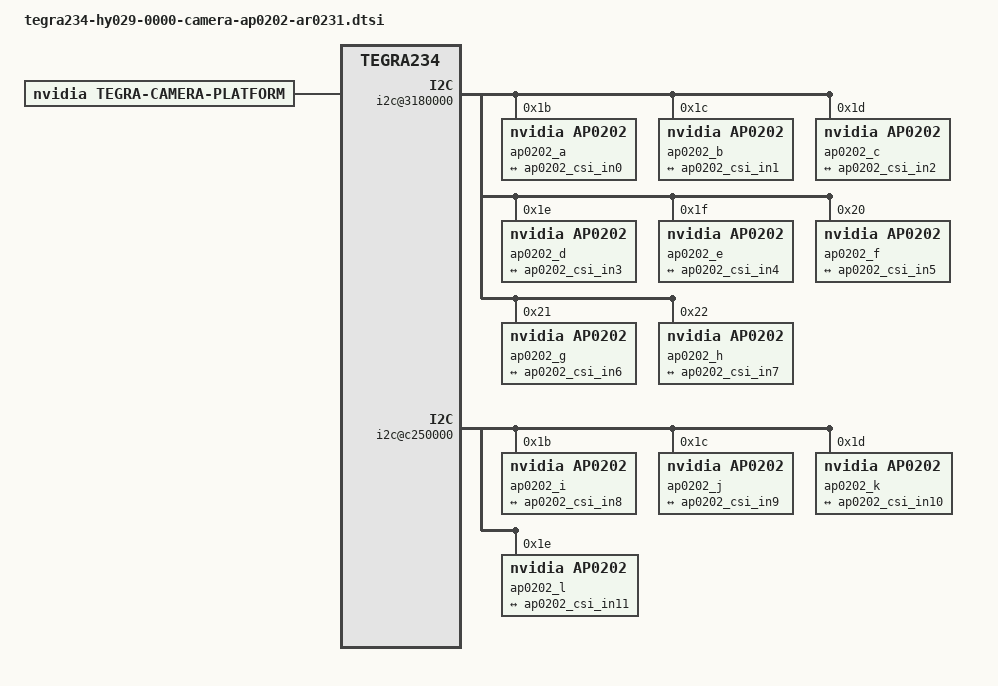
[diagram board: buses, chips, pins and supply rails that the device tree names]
/*
 * Copyright (c) 2018, NVIDIA CORPORATION.  All rights reserved.
 *
 * This program is free software; you can redistribute it and/or modify
 * it under the terms of the GNU General Public License as published by
 * the Free Software Foundation; either version 2 of the License, or
 * (at your option) any later version.
 *
 * This program is distributed in the hope that it will be useful, but WITHOUT
 * ANY WARRANTY; without even the implied warranty of MERCHANTABILITY or
 * FITNESS FOR A PARTICULAR PURPOSE.  See the GNU General Public License for
 * more details.
 *
 * You should have received a copy of the GNU General Public License
 * along with this program.  If not, see <http://www.gnu.org/licenses/>.
 */



/ {
		tegra-capture-vi {
			num-channels = <12>;
			/*num-channels = <8>;*/
			/*num-channels = <4>;*/
			ports {
				#address-cells = <1>;
				#size-cells = <0>;
            #if 1
				port@0 {
					reg = <0>;
					ap0202_vi_in0: endpoint {
						devnode = "video1";
						vc-id = <0>;
						/*
						 * Port index is used to specify the connection between two different modules. 
						 * For the VI (video input) module, the port index represents the input stream. 
						 * For the CSI module, it represents the actual CSI port to which the camera is connected.
						 * see diagram for details.
						*/
						port-index = <0>;
						/* Number of CSI lanes connected to sensor; determines the bus width. */
						bus-width = <4>;
						remote-endpoint = <&ap0202_csi_out0>;
					};
				};
				port@1 {
					reg = <1>;
					ap0202_vi_in1: endpoint {
						devnode = "video0";
						vc-id = <1>;
						port-index = <0>;
						bus-width = <4>;
						remote-endpoint = <&ap0202_csi_out1>;
					};
				};
				port@2 {
					reg = <2>;
					ap0202_vi_in2: endpoint {
						devnode = "video3";
						vc-id = <2>;
						port-index = <0>;
						bus-width = <4>;
						remote-endpoint = <&ap0202_csi_out2>;
					};
				};
				port@3 {
					reg = <3>;
					ap0202_vi_in3: endpoint {
						devnode = "video2";
						vc-id = <3>;
						port-index = <0>;
						bus-width = <4>;
						remote-endpoint = <&ap0202_csi_out3>;
					};
				};
            #endif
            #if 1
				port@4 {
					reg = <4>;
					ap0202_vi_in4: endpoint {
						devnode = "video9";
						vc-id = <0>;
						port-index = <2>;
						bus-width = <4>;
						remote-endpoint = <&ap0202_csi_out4>;
					};
				};
				port@5 {
					reg = <5>;
					ap0202_vi_in5: endpoint {
						devnode = "video8";
						vc-id = <1>;
						port-index = <2>;
						bus-width = <4>;
						remote-endpoint = <&ap0202_csi_out5>;
					};
				};	
				port@6 {
					reg = <6>;
					ap0202_vi_in6: endpoint {
						devnode = "video11";
						vc-id = <2>;
						port-index = <2>;
						bus-width = <4>;
						remote-endpoint = <&ap0202_csi_out6>;
					};
				};
				port@7 {
					reg = <7>;
					ap0202_vi_in7: endpoint {
						devnode = "video10";
						vc-id = <3>;
						port-index = <2>;
						bus-width = <4>;
						remote-endpoint = <&ap0202_csi_out7>;
					};
				};
            #endif

            #if 1
				port@8 {
					reg = <8>;
					ap0202_vi_in8: endpoint {
						devnode = "video5";
						vc-id = <0>;
						port-index = <4>;
						bus-width = <4>;
						remote-endpoint = <&ap0202_csi_out8>;
					};
				};
				port@9 {
					reg = <9>;
					ap0202_vi_in9: endpoint {
						devnode = "video4";
						vc-id = <1>;
						port-index = <4>;
						bus-width = <4>;
						remote-endpoint = <&ap0202_csi_out9>;
					};
				};	
				port@a {
					reg = <0xa>;
					ap0202_vi_in10: endpoint {
						devnode = "video7";
						vc-id = <2>;
						port-index = <4>;
						bus-width = <4>;
						remote-endpoint = <&ap0202_csi_out10>;
					};
				};
				port@b {
					reg = <0xb>;
					ap0202_vi_in11: endpoint {
						devnode = "video6";
						vc-id = <3>;
						port-index = <4>;
						bus-width = <4>;
						remote-endpoint = <&ap0202_csi_out11>;
					};
				};
            #endif
			};
		};

	host1x@13e00000 {
		nvcsi@15a00000 {
			num-channels = <12>;
			/*num-channels = <8>;*/
			/*num-channels = <4>;*/
			#address-cells = <1>;
			#size-cells = <0>;
        #if 1
			channel@0 {
				reg = <0>;
				ports {
					#address-cells = <1>;
					#size-cells = <0>;
					port@0 {
						reg = <0>;
						ap0202_csi_in0: endpoint@0 {
						/*
						 * Port index is used to specify the connection between two different modules. 
						 * For the VI (video input) module, the port index represents the input stream. 
						 * For the CSI module, it represents the actual CSI port to which the camera is connected.
						 * see diagram for details.
						*/
							port-index = <0>;
							bus-width = <4>;
							remote-endpoint = <&ap0202_ap0202_out0>;
						};
					};

					port@1 {
						reg = <1>;
						ap0202_csi_out0: endpoint@1 {
							remote-endpoint = <&ap0202_vi_in0>;
						};
					};

				};
			};
			channel@1 {
				reg = <1>;
				ports {
					#address-cells = <1>;
					#size-cells = <0>;
					port@0 {
						reg = <0>;
						ap0202_csi_in1: endpoint@2 {
							port-index = <0>;
							bus-width = <4>;
							remote-endpoint = <&ap0202_ap0202_out1>;
						};
					};
					port@1 {
						reg = <1>;
						ap0202_csi_out1: endpoint@3 {
							remote-endpoint = <&ap0202_vi_in1>;
						};
					};
				};
			};
			channel@2 {
				reg = <2>;
				ports {
					#address-cells = <1>;
					#size-cells = <0>;
					port@0 {
						reg = <0>;
						ap0202_csi_in2: endpoint@4 {
							port-index = <0>;
							bus-width = <4>;
							remote-endpoint = <&ap0202_ap0202_out2>;
						};
					};
					port@1 {
						reg = <1>;
						ap0202_csi_out2: endpoint@5 {
							remote-endpoint = <&ap0202_vi_in2>;
						};
					};
				};
			};
			channel@3 {
				reg = <3>;
				ports {
					#address-cells = <1>;
					#size-cells = <0>;
					port@0 {
						reg = <0>;
						ap0202_csi_in3: endpoint@6 {
							port-index = <0>;
							bus-width = <4>;
							remote-endpoint = <&ap0202_ap0202_out3>;
						};
					};
					port@1 {
						reg = <1>;
						ap0202_csi_out3: endpoint@7 {
							remote-endpoint = <&ap0202_vi_in3>;
						};
					};
				};
			};
        #endif
        #if 1
			channel@4 {
				reg = <4>;
				ports {
					#address-cells = <1>;
					#size-cells = <0>;
					port@0 {
						reg = <0>;
						ap0202_csi_in4: endpoint@8 {
							/*port-index = <6>;*/
							port-index = <2>;
							bus-width = <4>;
							remote-endpoint = <&ap0202_ap0202_out4>;
						};
					};

					port@1 {
						reg = <1>;
						ap0202_csi_out4: endpoint@9 {
							remote-endpoint = <&ap0202_vi_in4>;
						};
					};

				};
			};
			channel@5 {
				reg = <5>;
				ports {
					#address-cells = <1>;
					#size-cells = <0>;
					port@0 {
						reg = <0>;
						ap0202_csi_in5: endpoint@10 {
							port-index = <2>;
							bus-width = <4>;
							remote-endpoint = <&ap0202_ap0202_out5>;
						};
					};
					port@1 {
						reg = <1>;
						ap0202_csi_out5: endpoint@11 {
							remote-endpoint = <&ap0202_vi_in5>;
						};
					};
				};
			};
			channel@6 {
				reg = <6>;
				ports {
					#address-cells = <1>;
					#size-cells = <0>;
					port@0 {
						reg = <0>;
						ap0202_csi_in6: endpoint@12 {
							port-index = <2>;
							bus-width = <4>;
							remote-endpoint = <&ap0202_ap0202_out6>;
						};
					};
					port@1 {
						reg = <1>;
						ap0202_csi_out6: endpoint@13 {
							remote-endpoint = <&ap0202_vi_in6>;
						};
					};
				};
			};
			channel@7 {
				reg = <7>;
				ports {
					#address-cells = <1>;
					#size-cells = <0>;
					port@0 {
						reg = <0>;
						ap0202_csi_in7: endpoint@14 {
							port-index = <2>;
							bus-width = <4>;
							remote-endpoint = <&ap0202_ap0202_out7>;
						};
					};
					port@1 {
						reg = <1>;
						ap0202_csi_out7: endpoint@15 {
							remote-endpoint = <&ap0202_vi_in7>;
						};
					};
				};
			};
        #endif
        #if 1
			channel@8 {
				reg = <8>;
				ports {
					#address-cells = <1>;
					#size-cells = <0>;
					port@0 {
						reg = <0>;
						ap0202_csi_in8: endpoint@16 {
							port-index = <4>;
							bus-width = <4>;
							remote-endpoint = <&ap0202_ap0202_out8>;
						};
					};

					port@1 {
						reg = <1>;
						ap0202_csi_out8: endpoint@17 {
							remote-endpoint = <&ap0202_vi_in8>;
						};
					};

				};
			};
			channel@9 {
				reg = <9>;
				ports {
					#address-cells = <1>;
					#size-cells = <0>;
					port@0 {
						reg = <0>;
						ap0202_csi_in9: endpoint@18 {
							port-index = <4>;
							bus-width = <4>;
							remote-endpoint = <&ap0202_ap0202_out9>;
						};
					};
					port@1 {
						reg = <1>;
						ap0202_csi_out9: endpoint@19 {
							remote-endpoint = <&ap0202_vi_in9>;
						};
					};
				};
			};
			channel@a {
				reg = <0xa>;
				ports {
					#address-cells = <1>;
					#size-cells = <0>;
					port@0 {
						reg = <0>;
						ap0202_csi_in10: endpoint@20 {
							port-index = <4>;
							bus-width = <4>;
							remote-endpoint = <&ap0202_ap0202_out10>;
						};
					};
					port@1 {
						reg = <1>;
						ap0202_csi_out10: endpoint@21 {
							remote-endpoint = <&ap0202_vi_in10>;
						};
					};
				};
			};
			channel@b {
				reg = <0xb>;
				ports {
					#address-cells = <1>;
					#size-cells = <0>;
					port@0 {
						reg = <0>;
						ap0202_csi_in11: endpoint@22 {
							port-index = <4>;
							bus-width = <4>;
							remote-endpoint = <&ap0202_ap0202_out11>;
						};
					};
					port@1 {
						reg = <1>;
						ap0202_csi_out11: endpoint@23 {
							remote-endpoint = <&ap0202_vi_in11>;
						};
					};
				};
			};
        #endif
		};

	};

	i2c@3180000 {

			ap0202_a@1b {
				compatible = "nvidia,ap0202";
				reg = <0x1b>;
				physical_w = "15.0";
				physical_h = "12.5";
				//def-mode = <0>;
				sensor_model ="ar0231-SG";
				post_crop_frame_drop = "0";
				use_decibel_gain = "true";
				delayed_gain = "true";
				//use_sensor_mode_id = "true";
				mode0 {
					mclk_khz = "24000";
					num_lanes = "4";
					/* enable dphy */
					phy_mode = "DPHY";
					tegra_sinterface = "serial_a";
					vc_id = "0";
					discontinuous_clk = "no";
					dpcm_enable = "false";
					cil_settletime = "0";
					mode_type = "yuv";
					pixel_phase = "yuyv";
					csi_pixel_bit_depth = "16";
					active_w = "1920";
					active_h = "1080";
					//pixel_t = "yuv_yuyv16";
					readout_orientation = "0";
					line_length = "4400";
					inherent_gain = "1";
					pix_clk_hz = "148500000";
					serdes_pix_clk_hz = "300000000";
					min_framerate = "30";
					max_framerate = "30";
				};
				ports {
					#address-cells = <1>;
					#size-cells = <0>;
					port@0 {
						reg = <0>;
						ap0202_ap0202_out0: endpoint {
							vc-id = <0>;
							port-index = <0>;
							bus-width = <4>;
							remote-endpoint = <&ap0202_csi_in0>;
							};
						};
					};
				gmsl-link {
					src-csi-port = "b";
					dst-csi-port = "b";
					serdes-csi-link = "a";
					csi-mode = "1x4";
					st-vc = <0>;
					vc-id = <0>;
					num-lanes = <4>;
					streams = "yuv422-8";
					};
				};
			ap0202_b@1c {
				compatible = "nvidia,ap0202";
				reg = <0x1c>;
				physical_w = "15.0";
				physical_h = "12.5";
				//def-mode = <0>;
				sensor_model ="ar0231-SG";
				post_crop_frame_drop = "0";
				use_decibel_gain = "true";
				delayed_gain = "true";
				//use_sensor_mode_id = "true";
				mode0 {
					mclk_khz = "24000";
					num_lanes = "4";
					phy_mode = "DPHY";
					tegra_sinterface = "serial_a";
					vc_id = "1";
					discontinuous_clk = "no";
					dpcm_enable = "false";
					cil_settletime = "0";
					mode_type = "yuv";
					pixel_phase = "yuyv";
					csi_pixel_bit_depth = "16";
					active_w = "1920";
					active_h = "1080";
					//pixel_t = "yuv_yuyv16";
					readout_orientation = "0";
					line_length = "4400";
					inherent_gain = "1";
					pix_clk_hz = "148500000";
					serdes_pix_clk_hz = "300000000";
					min_framerate = "30";
					max_framerate = "30";
				};
				ports {
					#address-cells = <1>;
					#size-cells = <0>;
					port@0 {
						reg = <0>;
						ap0202_ap0202_out1: endpoint {
							vc-id = <1>;
							port-index = <0>;
							bus-width = <4>;
							remote-endpoint = <&ap0202_csi_in1>;
							};
						};
					};
				gmsl-link {
					src-csi-port = "b";
					dst-csi-port = "b";
					serdes-csi-link = "b";
					csi-mode = "1x4";
					st-vc = <0>;
					vc-id = <1>;
					num-lanes = <4>;
					streams = "yuv422-8";
					};
				};

			ap0202_c@1d {
				compatible = "nvidia,ap0202";
				reg = <0x1d>;
				physical_w = "15.0";
				physical_h = "12.5";
				//def-mode = <0>;
				sensor_model ="ar0231-SG";
				post_crop_frame_drop = "0";
				use_decibel_gain = "true";
				delayed_gain = "true";
				//use_sensor_mode_id = "true";
				mode0 {
					mclk_khz = "24000";
					num_lanes = "4";
					phy_mode = "DPHY";
					tegra_sinterface = "serial_a";
					vc_id = "2";
					discontinuous_clk = "no";
					dpcm_enable = "false";
					cil_settletime = "0";
					mode_type = "yuv";
					pixel_phase = "yuyv";
					csi_pixel_bit_depth = "16";
					active_w = "1920";
					active_h = "1080";
					//pixel_t = "yuv_yuyv16";
					readout_orientation = "0";
					line_length = "4400";
					inherent_gain = "1";
					pix_clk_hz = "148500000";
					serdes_pix_clk_hz = "300000000";
					min_framerate = "30";
					max_framerate = "30";
				};
				ports {
					#address-cells = <1>;
					#size-cells = <0>;
					port@0 {
						reg = <0>;
						ap0202_ap0202_out2: endpoint {
							vc-id = <2>;
							port-index = <0>;
							bus-width = <4>;
							remote-endpoint = <&ap0202_csi_in2>;
							};
						};
					};
				gmsl-link {
					src-csi-port = "b";
					dst-csi-port = "b";
					serdes-csi-link = "c";
					csi-mode = "1x4";
					st-vc = <0>;
					vc-id = <2>;
					num-lanes = <4>;
					streams = "yuv422-8";
					};
				};

			ap0202_d@1e{
				compatible = "nvidia,ap0202";
				reg = <0x1e>;
				physical_w = "15.0";
				physical_h = "12.5";
				//def-mode = <0>;
				sensor_model ="ar0231-SG";
				post_crop_frame_drop = "0";
				use_decibel_gain = "true";
				delayed_gain = "true";
				//use_sensor_mode_id = "true";
				mode0 {
					mclk_khz = "24000";
					num_lanes = "4";
					phy_mode = "DPHY";
					tegra_sinterface = "serial_a";
					vc_id = "3";
					discontinuous_clk = "no";
					dpcm_enable = "false";
					cil_settletime = "0";
					mode_type = "yuv";
					pixel_phase = "yuyv";
					csi_pixel_bit_depth = "16";
					active_w = "1920";
					active_h = "1080";
					//pixel_t = "yuv_yuyv16";
					readout_orientation = "0";
					line_length = "4400";
					inherent_gain = "1";
					pix_clk_hz = "148500000";
					serdes_pix_clk_hz = "300000000";
					min_framerate = "30";
					max_framerate = "30";
				};
				ports {
					#address-cells = <1>;
					#size-cells = <0>;
					port@0 {
						reg = <0>;
						ap0202_ap0202_out3: endpoint {
							vc-id = <3>;
							port-index = <0>;
							bus-width = <4>;
							remote-endpoint = <&ap0202_csi_in3>;
							};
						};
					};
				gmsl-link {
					src-csi-port = "b";
					dst-csi-port = "b";
					serdes-csi-link = "d";
					csi-mode = "1x4";
					st-vc = <0>;
					vc-id = <3>;
					num-lanes = <4>;
					streams = "yuv422-8";
					};
				};
	};
    #if 1
	i2c@3180000 {
			ap0202_e@1f {
				compatible = "nvidia,ap0202";
				reg = <0x1f>;
				physical_w = "15.0";
				physical_h = "12.5";
				//def-mode = <0>;
				sensor_model ="ar0231-SG";
				post_crop_frame_drop = "0";
				use_decibel_gain = "true";
				delayed_gain = "true";
				//use_sensor_mode_id = "true";
				mode0 {
					mclk_khz = "24000";
					num_lanes = "4";
					phy_mode = "DPHY";
					/*tegra_sinterface = "serial_g";*/
					tegra_sinterface = "serial_c";
					vc_id = "0";
					discontinuous_clk = "no";
					dpcm_enable = "false";
					cil_settletime = "0";
					mode_type = "yuv";
					pixel_phase = "yuyv";
					csi_pixel_bit_depth = "16";
					active_w = "1920";
					active_h = "1080";
					//pixel_t = "yuv_yuyv16";
					readout_orientation = "0";
					line_length = "4400";
					inherent_gain = "1";
					pix_clk_hz = "148500000";
					serdes_pix_clk_hz = "300000000";
					min_framerate = "30";
					max_framerate = "30";
				};
				ports {
					#address-cells = <1>;
					#size-cells = <0>;
					port@0 {
						reg = <0>;
						ap0202_ap0202_out4: endpoint {
							vc-id = <0>;
							port-index = <2>;
							bus-width = <4>;
							remote-endpoint = <&ap0202_csi_in4>;
							};
						};
					};
				gmsl-link {
					src-csi-port = "b";
					dst-csi-port = "b";
					serdes-csi-link = "a";
					csi-mode = "1x4";
					st-vc = <0>;
					vc-id = <0>;
					num-lanes = <4>;
					streams = "yuv422-8";
					};
				};
			ap0202_f@20 {
				compatible = "nvidia,ap0202";
				reg = <0x20>;
				physical_w = "15.0";
				physical_h = "12.5";
				//def-mode = <0>;
				sensor_model ="ar0231-SG";
				post_crop_frame_drop = "0";
				use_decibel_gain = "true";
				delayed_gain = "true";
				//use_sensor_mode_id = "true";
				mode0 {
					mclk_khz = "24000";
					num_lanes = "4";
					phy_mode = "DPHY";
					tegra_sinterface = "serial_c";
					vc_id = "1";
					discontinuous_clk = "no";
					dpcm_enable = "false";
					cil_settletime = "0";
					mode_type = "yuv";
					pixel_phase = "yuyv";
					csi_pixel_bit_depth = "16";
					active_w = "1920";
					active_h = "1080";
					//pixel_t = "yuv_yuyv16";
					readout_orientation = "0";
					line_length = "4400";
					inherent_gain = "1";
					pix_clk_hz = "148500000";
					serdes_pix_clk_hz = "300000000";
					min_framerate = "30";
					max_framerate = "30";
				};
				ports {
					#address-cells = <1>;
					#size-cells = <0>;
					port@0 {
						reg = <0>;
						ap0202_ap0202_out5: endpoint {
							vc-id = <1>;
							port-index = <2>;
							bus-width = <4>;
							remote-endpoint = <&ap0202_csi_in5>;
							};
						};
					};
				gmsl-link {
					src-csi-port = "b";
					dst-csi-port = "b";
					serdes-csi-link = "b";
					csi-mode = "1x4";
					st-vc = <0>;
					vc-id = <1>;
					num-lanes = <4>;
					streams = "yuv422-8";
					};
				};

			ap0202_g@21 {
				compatible = "nvidia,ap0202";
				reg = <0x21>;
				physical_w = "15.0";
				physical_h = "12.5";
				//def-mode = <0>;
				sensor_model ="ar0231-SG";
				post_crop_frame_drop = "0";
				use_decibel_gain = "true";
				delayed_gain = "true";
				//use_sensor_mode_id = "true";
				mode0 {
					mclk_khz = "24000";
					num_lanes = "4";
					phy_mode = "DPHY";
					tegra_sinterface = "serial_c";
					vc_id = "2";
					discontinuous_clk = "no";
					dpcm_enable = "false";
					cil_settletime = "0";
					mode_type = "yuv";
					pixel_phase = "yuyv";
					csi_pixel_bit_depth = "16";
					active_w = "1920";
					active_h = "1080";
					//pixel_t = "yuv_yuyv16";
					readout_orientation = "0";
					line_length = "4400";
					inherent_gain = "1";
					pix_clk_hz = "148500000";
					serdes_pix_clk_hz = "300000000";
					min_framerate = "30";
					max_framerate = "30";
				};
				ports {
					#address-cells = <1>;
					#size-cells = <0>;
					port@0 {
						reg = <0>;
						ap0202_ap0202_out6: endpoint {
							vc-id = <2>;
							port-index = <2>;
							bus-width = <4>;
							remote-endpoint = <&ap0202_csi_in6>;
							};
						};
					};
				gmsl-link {
					src-csi-port = "b";
					dst-csi-port = "b";
					serdes-csi-link = "c";
					csi-mode = "1x4";
					st-vc = <0>;
					vc-id = <2>;
					num-lanes = <4>;
					streams = "yuv422-8";
					};
				};

			ap0202_h@22{
				compatible = "nvidia,ap0202";
				reg = <0x22>;
				physical_w = "15.0";
				physical_h = "12.5";
				//def-mode = <0>;
				sensor_model ="ar0231-SG";
				post_crop_frame_drop = "0";
				use_decibel_gain = "true";
				delayed_gain = "true";
				//use_sensor_mode_id = "true";
				mode0 {
					mclk_khz = "24000";
					num_lanes = "4";
					phy_mode = "DPHY";
					tegra_sinterface = "serial_c";
					vc_id = "3";
					discontinuous_clk = "no";
					dpcm_enable = "false";
					cil_settletime = "0";
					mode_type = "yuv";
					pixel_phase = "yuyv";
					csi_pixel_bit_depth = "16";
					active_w = "1920";
					active_h = "1080";
					//pixel_t = "yuv_yuyv16";
					readout_orientation = "0";
					line_length = "4400";
					inherent_gain = "1";
					pix_clk_hz = "148500000";
					serdes_pix_clk_hz = "300000000";
					min_framerate = "30";
					max_framerate = "30";
				};
				ports {
					#address-cells = <1>;
					#size-cells = <0>;
					port@0 {
						reg = <0>;
						ap0202_ap0202_out7: endpoint {
							vc-id = <3>;
							port-index = <2>;
							bus-width = <4>;
							remote-endpoint = <&ap0202_csi_in7>;
							};
						};
					};
				gmsl-link {
					src-csi-port = "b";
					dst-csi-port = "b";
					serdes-csi-link = "d";
					csi-mode = "1x4";
					st-vc = <0>;
					vc-id = <3>;
					num-lanes = <4>;
					streams = "yuv422-8";
					};
				};

	};
    #endif

    #if 1
	i2c@c250000 {
			ap0202_i@1b {
				compatible = "nvidia,ap0202";
				reg = <0x1b>;
				physical_w = "15.0";
				physical_h = "12.5";
				//def-mode = <0>;
				sensor_model ="ar0231-SG";
				post_crop_frame_drop = "0";
				use_decibel_gain = "true";
				delayed_gain = "true";
				//use_sensor_mode_id = "true";
				mode0 {
					mclk_khz = "24000";
					num_lanes = "4";
					phy_mode = "DPHY";
					tegra_sinterface = "serial_e";
					vc_id = "0";
					discontinuous_clk = "no";
					dpcm_enable = "false";
					cil_settletime = "0";
					mode_type = "yuv";
					pixel_phase = "yuyv";
					csi_pixel_bit_depth = "16";
					active_w = "1920";
					active_h = "1080";
					//pixel_t = "yuv_yuyv16";
					readout_orientation = "0";
					line_length = "4400";
					inherent_gain = "1";
					pix_clk_hz = "148500000";
					serdes_pix_clk_hz = "300000000";
					min_framerate = "30";
					max_framerate = "30";
				};
				ports {
					#address-cells = <1>;
					#size-cells = <0>;
					port@0 {
						reg = <0>;
						ap0202_ap0202_out8: endpoint {
							vc-id = <0>;
							port-index = <4>;
							bus-width = <4>;
							remote-endpoint = <&ap0202_csi_in8>;
							};
						};
					};
				gmsl-link {
					src-csi-port = "b";
					dst-csi-port = "b";
					serdes-csi-link = "a";
					csi-mode = "1x4";
					st-vc = <0>;
					vc-id = <0>;
					num-lanes = <4>;
					streams = "yuv422-8";
					};
				};
			ap0202_j@1c {
				compatible = "nvidia,ap0202";
				reg = <0x1c>;
				physical_w = "15.0";
				physical_h = "12.5";
				//def-mode = <0>;
				sensor_model ="ar0231-SG";
				post_crop_frame_drop = "0";
				use_decibel_gain = "true";
				delayed_gain = "true";
				//use_sensor_mode_id = "true";
				mode0 {
					mclk_khz = "24000";
					num_lanes = "4";
					phy_mode = "DPHY";
					tegra_sinterface = "serial_e";
					vc_id = "1";
					discontinuous_clk = "no";
					dpcm_enable = "false";
					cil_settletime = "0";
					mode_type = "yuv";
					pixel_phase = "yuyv";
					csi_pixel_bit_depth = "16";
					active_w = "1920";
					active_h = "1080";
					//pixel_t = "yuv_yuyv16";
					readout_orientation = "0";
					line_length = "4400";
					inherent_gain = "1";
					pix_clk_hz = "148500000";
					serdes_pix_clk_hz = "300000000";
					min_framerate = "30";
					max_framerate = "30";
				};
				ports {
					#address-cells = <1>;
					#size-cells = <0>;
					port@0 {
						reg = <0>;
						ap0202_ap0202_out9: endpoint {
							vc-id = <1>;
							port-index = <4>;
							bus-width = <4>;
							remote-endpoint = <&ap0202_csi_in9>;
							};
						};
					};
				gmsl-link {
					src-csi-port = "b";
					dst-csi-port = "b";
					serdes-csi-link = "b";
					csi-mode = "1x4";
					st-vc = <0>;
					vc-id = <1>;
					num-lanes = <4>;
					streams = "yuv422-8";
					};
				};

			ap0202_k@1d {
				compatible = "nvidia,ap0202";
				reg = <0x1d>;
				physical_w = "15.0";
				physical_h = "12.5";
				//def-mode = <0>;
				sensor_model ="ar0231-SG";
				post_crop_frame_drop = "0";
				use_decibel_gain = "true";
				delayed_gain = "true";
				//use_sensor_mode_id = "true";
				mode0 {
					mclk_khz = "24000";
					num_lanes = "4";
					phy_mode = "DPHY";
					tegra_sinterface = "serial_e";
					vc_id = "2";
					discontinuous_clk = "no";
					dpcm_enable = "false";
					cil_settletime = "0";
					mode_type = "yuv";
					pixel_phase = "yuyv";
					csi_pixel_bit_depth = "16";
					active_w = "1920";
					active_h = "1080";
					//pixel_t = "yuv_yuyv16";
					readout_orientation = "0";
					line_length = "4400";
					inherent_gain = "1";
					pix_clk_hz = "148500000";
					serdes_pix_clk_hz = "300000000";
					min_framerate = "30";
					max_framerate = "30";
				};
				ports {
					#address-cells = <1>;
					#size-cells = <0>;
					port@0 {
						reg = <0>;
						ap0202_ap0202_out10: endpoint {
							vc-id = <2>;
							port-index = <4>;
							bus-width = <4>;
							remote-endpoint = <&ap0202_csi_in10>;
							};
						};
					};
				gmsl-link {
					src-csi-port = "b";
					dst-csi-port = "b";
					serdes-csi-link = "c";
					csi-mode = "1x4";
					st-vc = <0>;
					vc-id = <2>;
					num-lanes = <4>;
					streams = "yuv422-8";
					};
				};

			ap0202_l@1e{
				compatible = "nvidia,ap0202";
				reg = <0x1e>;
				physical_w = "15.0";
				physical_h = "12.5";
				//def-mode = <0>;
				sensor_model ="ar0231-SG";
				post_crop_frame_drop = "0";
				use_decibel_gain = "true";
				delayed_gain = "true";
				//use_sensor_mode_id = "true";
				mode0 {
					mclk_khz = "24000";
					num_lanes = "4";
					phy_mode = "DPHY";
					tegra_sinterface = "serial_e";
					vc_id = "3";
					discontinuous_clk = "no";
					dpcm_enable = "false";
					cil_settletime = "0";
					mode_type = "yuv";
					pixel_phase = "yuyv";
					csi_pixel_bit_depth = "16";
					active_w = "1920";
					active_h = "1080";
					//pixel_t = "yuv_yuyv16";
					readout_orientation = "0";
					line_length = "4400";
					inherent_gain = "1";
					pix_clk_hz = "148500000";
					serdes_pix_clk_hz = "300000000";
					min_framerate = "30";
					max_framerate = "30";
				};
				ports {
					#address-cells = <1>;
					#size-cells = <0>;
					port@0 {
						reg = <0>;
						ap0202_ap0202_out11: endpoint {
							vc-id = <3>;
							port-index = <4>;
							bus-width = <4>;
							remote-endpoint = <&ap0202_csi_in11>;
							};
						};
					};
				gmsl-link {
					src-csi-port = "b";
					dst-csi-port = "b";
					serdes-csi-link = "d";
					csi-mode = "1x4";
					st-vc = <0>;
					vc-id = <3>;
					num-lanes = <4>;
					streams = "yuv422-8";
					};
				};

	};
    #endif

};

/ {

	tegra-camera-platform {
		compatible = "nvidia, tegra-camera-platform";
		/**
		* Physical settings to calculate max ISO BW
		*
		* num_csi_lanes = <>;
		* Total number of CSI lanes when all cameras are active
		*
		* max_lane_speed = <>;
		* Max lane speed in Kbit/s
		*
		* min_bits_per_pixel = <>;
		* Min bits per pixel
		*
		* vi_peak_byte_per_pixel = <>;
		* Max byte per pixel for the VI ISO case
		*
		* vi_bw_margin_pct = <>;
		* Vi bandwidth margin in percentage
		*
		* max_pixel_rate = <>;
		* Max pixel rate in Kpixel/s for the ISP ISO case
		*
		* isp_peak_byte_per_pixel = <>;
		* Max byte per pixel for the ISP ISO case
		*
		* isp_bw_margin_pct = <>;
		* Isp bandwidth margin in percentage
		*/
		num_csi_lanes = <12>;
		/*num_csi_lanes = <8>;*/
		/*num_csi_lanes = <4>;*/
		max_lane_speed = <4000000>;
		min_bits_per_pixel = <10>;
		vi_peak_byte_per_pixel = <2>;
		vi_bw_margin_pct = <25>;
		isp_peak_byte_per_pixel = <5>;
		isp_bw_margin_pct = <25>;

		/**
		 * The general guideline for naming badge_info contains 3 parts, and is as follows,
		 * The first part is the camera_board_id for the module; if the module is in a FFD
		 * platform, then use the platform name for this part.
		 * The second part contains the position of the module, ex. "rear" or "front".
		 * The third part contains the last 6 characters of a part number which is found
		 * in the module's specsheet from the vender.
		 */
		modules {

			module0 {
				badge = "ap0202_bottomleft";
				position = "camera_0";
				orientation = "0";
				drivernode0 {
					pcl_id = "v4l2_sensor";
					devname = "ap0202 2-001b";
					proc-device-tree = "/proc/device-tree/i2c@3180000/ap0202_a@1b";
				};
			};
			module1 {
				badge = "ap0202_bottomright";
				position = "camera_1";
				orientation = "0";
				drivernode0 {
					pcl_id = "v4l2_sensor";
					devname = "ap0202 2-001c";
					proc-device-tree = "/proc/device-tree/i2c@3180000/ap0202_b@1c";
				};
			};
			module2 {
				badge = "ap0202_bottomleft";
				position = "camera_2";
				orientation = "0";
				drivernode0 {
					pcl_id = "v4l2_sensor";
					devname = "ap0202 2-001d";
					proc-device-tree = "/proc/device-tree/i2c@3180000/ap0202_c@1d";
				};
			};
			module3 {
				badge = "ap0202_bottomleft";
				position = "camera_3";
				orientation = "0";
				drivernode0 {
					pcl_id = "v4l2_sensor";
					devname = "ap0202 2-001e";
					proc-device-tree = "/proc/device-tree/i2c@3180000/ap0202_d@1e";
				};
			};
           #if 1
			module4 {
				badge = "ap0202_topleft";
				position = "camera_4";
				orientation = "0";
				drivernode0 {
					pcl_id = "v4l2_sensor";
					devname = "ap0202 2-001f";
					proc-device-tree = "/proc/device-tree/i2c@3180000/ap0202_e@1f";
				};
			};
			module5 {
				badge = "ap0202_topright";
				position = "camera_5";
				orientation = "0";
				drivernode0 {
					pcl_id = "v4l2_sensor";
					devname = "ap0202 2-0020";
					proc-device-tree = "/proc/device-tree/i2c@3180000/ap0202_f@20";
				};
			};
			module6 {
				badge = "ap0202_centerleft";
				position = "camera_6";
				orientation = "0";
				drivernode0 {
					pcl_id = "v4l2_sensor";
					devname = "ap0202 2-0021";
					proc-device-tree = "/proc/device-tree/i2c@3180000/ap0202_g@21";
				};
			};
			module7 {
				badge = "ap0202_centerright";
				position = "camera_7";
				orientation = "0";
				drivernode0 {
					pcl_id = "v4l2_sensor";
					devname = "ap0202 2-0022";
					proc-device-tree = "/proc/device-tree/i2c@3180000/ap0202_h@22";
				};
			};
            #endif
           #if 1
			module8 {
				badge = "ap0202_topleft";
				position = "camera_8";
				orientation = "0";
				drivernode0 {
					pcl_id = "v4l2_sensor";
					devname = "ap0202 7-001b";
					proc-device-tree = "/proc/device-tree/i2c@c250000/ap0202_i@1b";
				};
			};
			module9 {
				badge = "ap0202_topright";
				position = "camera_9";
				orientation = "0";
				drivernode0 {
					pcl_id = "v4l2_sensor";
					devname = "ap0202 7-001c";
					proc-device-tree = "/proc/device-tree/i2c@c250000/ap0202_j@1c";
				};
			};
			module10 {
				badge = "ap0202_centerleft";
				position = "camera_10";
				orientation = "0";
				drivernode0 {
					pcl_id = "v4l2_sensor";
					devname = "ap0202 7-001d";
					proc-device-tree = "/proc/device-tree/i2c@c250000/ap0202_k@1d";
				};
			};
			module11 {
				badge = "ap0202_centerright";
				position = "camera_11";
				orientation = "0";
				drivernode0 {
					pcl_id = "v4l2_sensor";
					devname = "ap0202 7-001e";
					proc-device-tree = "/proc/device-tree/i2c@c250000/ap0202_l@1e";
				};
			};
            #endif
		};
	};
};
